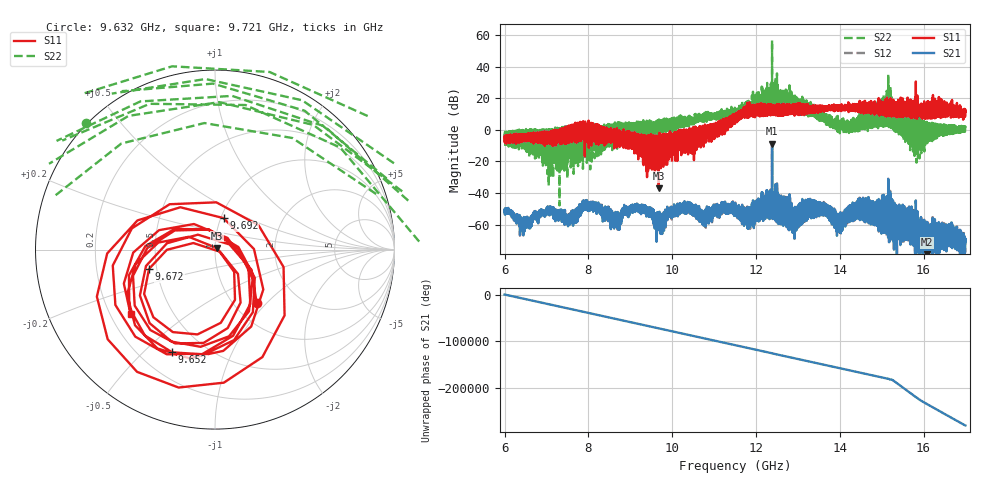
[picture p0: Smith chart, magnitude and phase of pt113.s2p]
#  HZ  S  RI  R  50.00
! Rohde & Schwarz Vector Network Analyzer
! Rohde-Schwarz,ZNA67-2Port,1332450062101215,3.01
! Created: UTC 10/19/2026, 3:05:34 PM
! freq[Hz]  re:S11  im:S11  re:S21  im:S21  re:S12  im:S12  re:S22  im:S22
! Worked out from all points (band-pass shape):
!   11001 points, 6 GHz to 17 GHz, reference 50 ohm
!   highest |S21| = -8.64 dB at 12.38 GHz (marker M1); lowest = -80.7 dB at 16.09 GHz (marker M2)
!   |S21| within 3 dB of the highest: 12.38493 GHz to 12.38507 GHz (145.5 kHz wide, 0.00117 % of centre)
!   lowest |S11| = -37.0 dB at 9.68 GHz (marker M3), VSWR 1.03, Z = 51.1 + j0.857 ohm
!   |S11| at or under -10 dB: 9.211979 GHz to 9.215497 GHz (3.518 MHz wide, 0.0382 % of centre); 9.316533 GHz to 9.320122 GHz (3.589 MHz wide, 0.0385 % of centre); 9.385837 GHz to 9.390022 GHz (4.185 MHz wide, 0.0446 % of centre) (the widest 3 of 146)
!   |S22| runs from -47.8 to 56.5 dB; largest |S21 - S12| = 0.01
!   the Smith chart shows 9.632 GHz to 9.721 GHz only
!   S11 on the Smith chart (normalised r, x): 9.632 GHz: 1.26, -0.88; 9.652 GHz: 0.33, -0.61; 9.672 GHz: 0.45, -0.11; 9.692 GHz: 1.03, +0.37; 9.721 GHz: 0.28, -0.31
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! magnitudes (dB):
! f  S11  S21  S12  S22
! 6 GHz  -4.6  -50.9  -51.0  -2.4
! 6.445 GHz  -6.6  -58.3  -58.0  -7.1
! 7.834 GHz  -5.2  -51.3  -51.2  -10.4
! 8.601 GHz  -1.2  -56.1  -55.9  -0.3
! 9.315 GHz  -5.2  -52.0  -51.9  -3.1
! 9.632 GHz  -8.4  -66.4  -65.6  0.1
! 9.652 GHz  -4.1  -55.1  -55.0  0.9
! 9.667 GHz  -9.7  -57.6  -57.9  -2.1
! 9.672 GHz  -8.3  -53.5  -53.3  4.3
! 9.68 GHz  -37.0  -59.8  -59.6  2.9
! 9.692 GHz  -14.8  -53.8  -54.4  1.9
! 9.721 GHz  -4.5  -58.3  -58.8  3.5
! 10.27 GHz  -10.0  -50.9  -51.4  3.6
! 10.76 GHz  2.4  -51.7  -52.3  9.8
! 11.5 GHz  5.5  -51.9  -51.8  9.5
! 12.38 GHz  10.0  -8.6  -8.9  56.5
! 12.9 GHz  14.6  -54.0  -53.9  16.4
! 13.33 GHz  11.9  -53.9  -54.0  10.1
! 14.2 GHz  13.8  -50.5  -50.4  3.0
! 15.17 GHz  11.0  -64.5  -63.3  3.2
! 16.09 GHz  8.3  -80.7  -80.7  -8.4
! 17 GHz  11.4  -70.5  -70.3  1.5
